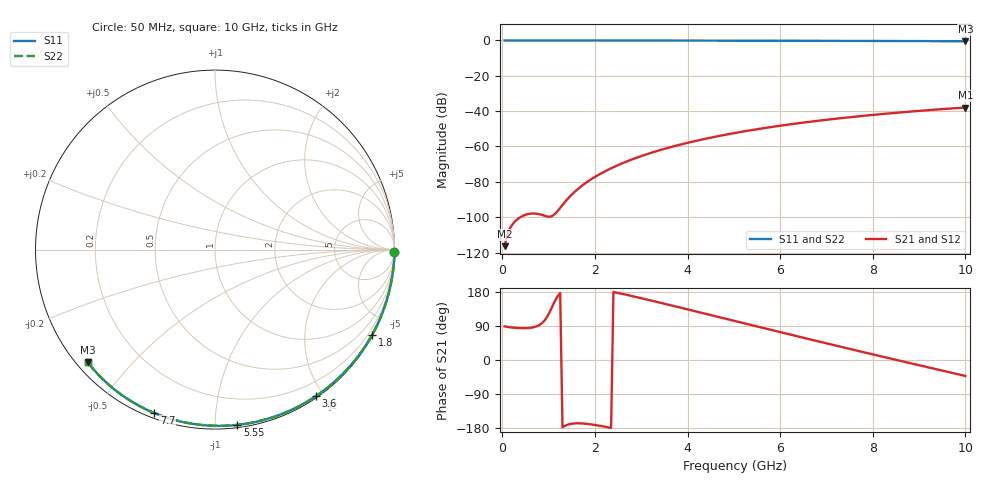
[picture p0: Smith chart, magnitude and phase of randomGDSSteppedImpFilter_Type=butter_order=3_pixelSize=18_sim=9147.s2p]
! freq	dB(S11)	phase(S11)	dB(S12)	phase(S12)
!  dB(S21)	phase(S21)	dB(S22)	phase(S22)
!S-par simulation data
#  GHz  S  DB  R 50
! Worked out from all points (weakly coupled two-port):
!   200 points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, 50 MHz to 10 GHz, reference 50 ohm
!   highest |S21| = -37.94 dB at 10 GHz (marker M1); lowest = -116.4 dB at 50 MHz (marker M2)
!   lowest |S11| = -0.5 dB at 10 GHz (marker M3), VSWR 37.10, Z = 1.54 - j19 ohm
!   |S11| at or under -10 dB: nowhere
!   |S22| runs from -0.5 to 0.0 dB; largest |S21 - S12| = 0
!   S11 on the Smith chart (normalised r, x): 50 MHz: open; 1.8 GHz: 0.03, -3.95; 3.6 GHz: 0.02, -1.90; 5.55 GHz: 0.02, -1.14; 7.7 GHz: 0.02, -0.69; 10 GHz: 0.03, -0.38
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0.05  -0.00 -0.8  -116.41 88.6  -116.41 88.6  -0.00 -0.8
0.45  -0.01 -7.2  -99.17 84.0  -99.17 84.0  -0.01 -7.2
0.9  -0.02 -14.3  -99.09 102.5  -99.09 102.5  -0.02 -14.3
1.75  -0.04 -27.6  -81.60 -167.7  -81.60 -167.7  -0.04 -27.6
1.8  -0.04 -28.4  -80.64 -168.2  -80.64 -168.2  -0.04 -28.4
1.85  -0.04 -29.2  -79.73 -168.8  -79.73 -168.8  -0.04 -29.2
2  -0.04 -31.5  -77.22 -171.4  -77.22 -171.4  -0.04 -31.5
2.15  -0.04 -33.8  -74.97 -174.5  -74.97 -174.5  -0.04 -33.8
2.35  -0.05 -36.8  -72.31 -179.2  -72.31 -179.2  -0.05 -36.8
2.55  -0.05 -39.9  -69.95 175.6  -69.95 175.6  -0.05 -39.9
2.95  -0.06 -45.9  -65.89 164.6  -65.89 164.6  -0.06 -45.9
3.4  -0.07 -52.5  -62.09 151.5  -62.09 151.5  -0.07 -52.5
3.6  -0.07 -55.4  -60.60 145.6  -60.60 145.6  -0.07 -55.4
4.3  -0.09 -65.5  -56.12 124.6  -56.12 124.6  -0.09 -65.5
5.05  -0.12 -75.9  -52.23 102.1  -52.23 102.1  -0.12 -75.9
5.55  -0.14 -82.7  -50.02 87.0  -50.02 87.0  -0.14 -82.7
6.1  -0.16 -90.0  -47.88 70.6  -47.88 70.6  -0.16 -90.0
6.7  -0.19 -97.8  -45.82 52.8  -45.82 52.8  -0.19 -97.8
7.7  -0.25 -110.4  -42.91 23.5  -42.91 23.5  -0.25 -110.4
8.35  -0.30 -118.4  -41.29 4.8  -41.29 4.8  -0.30 -118.4
9.2  -0.38 -128.8  -39.44 -19.5  -39.44 -19.5  -0.38 -128.8
10  -0.47 -138.4  -37.94 -42.1  -37.94 -42.1  -0.47 -138.4
